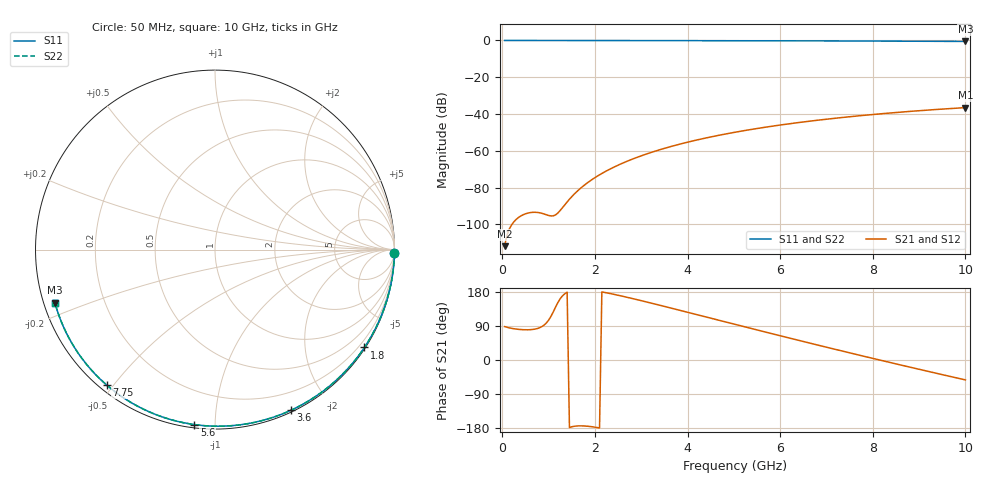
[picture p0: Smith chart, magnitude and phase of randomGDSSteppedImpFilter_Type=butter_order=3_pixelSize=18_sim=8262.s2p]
! freq	dB(S11)	phase(S11)	dB(S12)	phase(S12)
!  dB(S21)	phase(S21)	dB(S22)	phase(S22)
!S-par simulation data
#  GHz  S  DB  R 50
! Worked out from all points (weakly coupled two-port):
!   200 points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, 50 MHz to 10 GHz, reference 50 ohm
!   highest |S21| = -36.51 dB at 10 GHz (marker M1); lowest = -111.8 dB at 50 MHz (marker M2)
!   lowest |S11| = -0.5 dB at 10 GHz (marker M3), VSWR 32.11, Z = 1.6 - j8.04 ohm
!   |S11| at or under -10 dB: nowhere
!   |S22| runs from -0.5 to 0.0 dB; largest |S21 - S12| = 0
!   S11 on the Smith chart (normalised r, x): 50 MHz: open; 1.8 GHz: 0.03, -3.35; 3.6 GHz: 0.02, -1.58; 5.6 GHz: 0.02, -0.89; 7.75 GHz: 0.02, -0.48; 10 GHz: 0.03, -0.16
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0.05  -0.00 -0.9  -111.81 88.1  -111.81 88.1  -0.00 -0.9
0.45  -0.01 -8.4  -94.74 80.0  -94.74 80.0  -0.01 -8.4
0.85  -0.02 -15.9  -93.91 87.8  -93.91 87.8  -0.02 -15.9
1.7  -0.04 -31.4  -80.11 -173.8  -80.11 -173.8  -0.04 -31.4
1.75  -0.04 -32.3  -79.07 -173.9  -79.07 -173.9  -0.04 -32.3
1.8  -0.04 -33.2  -78.09 -174.3  -78.09 -174.3  -0.04 -33.2
1.95  -0.05 -35.9  -75.39 -176.3  -75.39 -176.3  -0.05 -35.9
2.1  -0.05 -38.6  -73.02 -179.2  -73.02 -179.2  -0.05 -38.6
2.3  -0.05 -42.2  -70.24 176.1  -70.24 176.1  -0.05 -42.2
2.5  -0.06 -45.7  -67.79 170.9  -67.79 170.9  -0.06 -45.7
2.9  -0.07 -52.7  -63.62 159.6  -63.62 159.6  -0.07 -52.7
3.4  -0.08 -61.2  -59.40 144.5  -59.40 144.5  -0.08 -61.2
3.6  -0.09 -64.6  -57.93 138.4  -57.93 138.4  -0.09 -64.6
4.3  -0.11 -76.2  -53.53 116.6  -53.53 116.6  -0.11 -76.2
5.05  -0.14 -88.2  -49.77 93.3  -49.77 93.3  -0.14 -88.2
5.6  -0.16 -96.7  -47.46 76.3  -47.46 76.3  -0.16 -96.7
6.15  -0.19 -105.1  -45.45 59.4  -45.45 59.4  -0.19 -105.1
6.7  -0.22 -113.3  -43.68 42.7  -43.68 42.7  -0.22 -113.3
7.75  -0.30 -128.7  -40.84 11.5  -40.84 11.5  -0.30 -128.7
8.35  -0.35 -137.4  -39.48 -5.9  -39.48 -5.9  -0.35 -137.4
9.2  -0.44 -149.8  -37.82 -30.2  -37.82 -30.2  -0.44 -149.8
10  -0.54 -161.7  -36.51 -52.5  -36.51 -52.5  -0.54 -161.7
